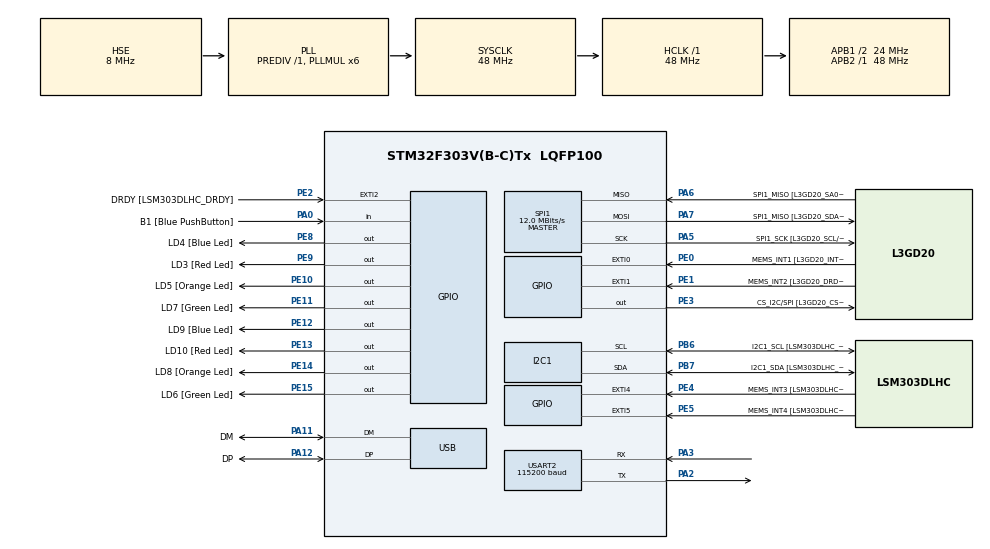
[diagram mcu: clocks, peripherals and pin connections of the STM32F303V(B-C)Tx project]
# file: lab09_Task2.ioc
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I2C1.Timing=0x00201D2B
I2C1.Timing-I2C=0x2000090E
Mcu.Family=STM32F3
Mcu.Name=STM32F303V(B-C)Tx
Mcu.Package=LQFP100
NVIC.PriorityGroup=NVIC_PRIORITYGROUP_0
PA0.GPIO_Label=B1 [Blue PushButton]
PA0.Signal=GPIO_Input
PA11.GPIO_Label=DM
PA11.Mode=Device
PA11.Signal=USB_DM
PA12.GPIO_Label=DP
PA12.Mode=Device
PA12.Signal=USB_DP
PA13.GPIO_Label=SWDIO
PA13.Mode=Serial_Wire
PA13.Signal=SYS_JTMS-SWDIO
PA14.GPIO_Label=SWCLK
PA14.Mode=Serial_Wire
PA14.Signal=SYS_JTCK-SWCLK
PA2.Mode=Asynchronous
PA2.Signal=USART2_TX
PA3.Mode=Asynchronous
PA3.Signal=USART2_RX
PA5.GPIO_Label=SPI1_SCK [L3GD20_SCL/SPC]
PA5.Mode=Full_Duplex_Master
PA5.Signal=SPI1_SCK
PA6.GPIO_Label=SPI1_MISO [L3GD20_SA0/SDO]
PA6.Mode=Full_Duplex_Master
PA6.Signal=SPI1_MISO
PA7.GPIO_Label=SPI1_MISO [L3GD20_SDA/SDI/SDO]
PA7.Mode=Full_Duplex_Master
PA7.Signal=SPI1_MOSI
PB3.GPIO_Label=SWO
PB3.Signal=SYS_JTDO-TRACESWO
PB6.GPIO_Label=I2C1_SCL [LSM303DLHC_SCL]
PB6.GPIO_Pu=GPIO_PULLUP
PB6.Mode=I2C
PB6.Signal=I2C1_SCL
PB7.GPIO_Label=I2C1_SDA [LSM303DLHC_SDA]
PB7.GPIO_Pu=GPIO_PULLUP
PB7.Mode=I2C
PB7.Signal=I2C1_SDA
PC14-OSC32_IN.GPIO_Label=OSC32_IN
PC14-OSC32_IN.Signal=RCC_OSC32_IN
PC15-OSC32_OUT.GPIO_Label=OSC32_OUT
PC15-OSC32_OUT.Signal=RCC_OSC32_OUT
PE0.GPIO_Label=MEMS_INT1 [L3GD20_INT1]
PE0.GPIO_ModeDefaultEXTI=GPIO_MODE_EVT_RISING
PE0.Signal=GPXTI0
PE1.GPIO_Label=MEMS_INT2 [L3GD20_DRDY/INT2]
PE1.GPIO_ModeDefaultEXTI=GPIO_MODE_EVT_RISING
PE1.Signal=GPXTI1
PE10.GPIO_Label=LD5 [Orange Led]
PE10.Signal=GPIO_Output
PE11.GPIO_Label=LD7 [Green Led]
PE11.Signal=GPIO_Output
PE12.GPIO_Label=LD9 [Blue Led]
PE12.Signal=GPIO_Output
PE13.GPIO_Label=LD10 [Red Led]
PE13.Signal=GPIO_Output
PE14.GPIO_Label=LD8 [Orange Led]
PE14.Signal=GPIO_Output
PE15.GPIO_Label=LD6 [Green Led]
PE15.Signal=GPIO_Output
PE2.GPIO_Label=DRDY [LSM303DLHC_DRDY]
PE2.GPIO_ModeDefaultEXTI=GPIO_MODE_EVT_RISING
PE2.Signal=GPXTI2
PE3.GPIO_Label=CS_I2C/SPI [L3GD20_CS_I2C/SPI]
PE3.Signal=GPIO_Output
PE4.GPIO_Label=MEMS_INT3 [LSM303DLHC_INT1]
PE4.GPIO_ModeDefaultEXTI=GPIO_MODE_EVT_RISING
PE4.Signal=GPXTI4
PE5.GPIO_Label=MEMS_INT4 [LSM303DLHC_INT2]
PE5.GPIO_ModeDefaultEXTI=GPIO_MODE_EVT_RISING
PE5.Signal=GPXTI5
PE8.GPIO_Label=LD4 [Blue Led]
PE8.Signal=GPIO_Output
PE9.GPIO_Label=LD3 [Red Led]
PE9.Signal=GPIO_Output
PF0-OSC_IN.GPIO_Label=OSC_IN
PF0-OSC_IN.Mode=HSE-External-Clock-Source
PF0-OSC_IN.Signal=RCC_OSC_IN
PF1-OSC_OUT.GPIO_Label=OSC_OUT
PF1-OSC_OUT.Signal=RCC_OSC_OUT
ProjectManager.HeapSize=0x200
ProjectManager.StackSize=0x400
ProjectManager.TargetToolchain=CMake
RCC.AHBFreq_Value=48000000
RCC.APB1CLKDivider=RCC_HCLK_DIV2
RCC.APB1Freq_Value=24000000
RCC.APB1TimFreq_Value=48000000
RCC.APB2Freq_Value=48000000
RCC.APB2TimFreq_Value=48000000
RCC.CortexFreq_Value=48000000
RCC.HCLKFreq_Value=48000000
RCC.HSE_VALUE=8000000
RCC.HSI_VALUE=8000000
RCC.LSE_VALUE=32768
RCC.PLLMUL=RCC_PLL_MUL6
RCC.SYSCLKFreq_VALUE=48000000
RCC.SYSCLKSourceVirtual=RCC_SYSCLKSOURCE_PLLCLK
RCC.USBFreq_Value=48000000
SPI1.BaudRatePrescaler=SPI_BAUDRATEPRESCALER_4
SPI1.BaudRatePrescaler-Full_Duplex_Master=SPI_BAUDRATEPRESCALER_2
SPI1.CalculateBaudRate=12.0 MBits/s
SPI1.CalculateBaudRate-Full_Duplex_Master=24.0 MBits/s
SPI1.Direction=SPI_DIRECTION_2LINES
SPI1.Mode=SPI_MODE_MASTER
SPI1.Mode-Full_Duplex_Master=SPI_MODE_MASTER
SPI1.VirtualType=VM_MASTER
USART2.BaudRate=115200
USART2.VirtualMode-Asynchronous=VM_ASYNC
board=STM32F3DISCOVERY

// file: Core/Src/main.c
/* USER CODE BEGIN Header */
/**
  ******************************************************************************
  * @file           : main.c
  * @brief          : Main program body
  ******************************************************************************
  * @attention
  *
  * Copyright (c) 2026 STMicroelectronics.
  * All rights reserved.
  *
  * This software is licensed under terms that can be found in the LICENSE file
  * in the root directory of this software component.
  * If no LICENSE file comes with this software, it is provided AS-IS.
  *
  ******************************************************************************
  */
/* USER CODE END Header */
#include "main.h"

/* USER CODE BEGIN Includes */
#include <stdio.h>
#include <stdarg.h>
#include <string.h>
#include <math.h>
/* USER CODE END Includes */

/* USER CODE BEGIN PTD */
typedef struct
{
    int16_t x, y, z;
} Vec3i_t;                 // three raw sensor counts

typedef struct
{
    float x, y, z;
} Vec3f_t;                 // three values in physical units

typedef struct
{
    Vec3i_t acc_raw;       // raw accelerometer counts (16-bit, left-justified)
    Vec3i_t gyro_raw;      // raw gyroscope counts
    Vec3f_t acc;           // acceleration in g, offset removed
    Vec3f_t gyro;          // angular rate in deg/s, offset removed
    Vec3f_t acc_offset;    // accelerometer bias found by Offset_LSM()
    Vec3f_t gyro_offset;   // gyroscope bias found by Offset_LSM()
    float roll;            // tilt about X from the accelerometer, degrees
    float pitch;           // tilt about Y from the accelerometer, degrees
} LSM_Data_t;
/* USER CODE END PTD */

/* USER CODE BEGIN PD */
/* ---- LSM303AGR accelerometer on I2C1 (PB6/PB7) ---- */
#define ACC_ADDR_W        0x32    // 7-bit 0x19 << 1, R/W = 0 (write)
#define ACC_ADDR_R        0x33    // 7-bit 0x19 << 1, R/W = 1 (read)
#define WHO_AM_I_A        0x0F
#define ACC_ID            0x33
#define CTRL_REG1_A       0x20
#define CTRL_REG1_A_VAL   0x67    // 0110 0111: 200 Hz, normal power, X/Y/Z on
#define CTRL_REG4_A       0x23
#define CTRL_REG4_A_VAL   0x00    // +/-2 g, normal mode (10-bit data)
#define OUT_X_L_A         0x28    // first of 6 output registers (0x28-0x2D)
#define I2C_AUTO_INC      0x80    // MSB of register address -> auto-increment
#define ACC_MG_PER_LSB    3.9f    // normal mode, +/-2 g (datasheet)
#define I2C_TIMEOUT_MS    100

/* ---- I3G4250D gyroscope on SPI1 (from Lab 8) ---- */
#define SPI_READ_FLAG     0x80    // bit 7 = 1 -> read
#define SPI_AUTO_INC      0x40    // bit 6 = 1 -> auto-increment
#define WHO_AM_I_G        0x0F
#define GYRO_ID           0xD3    // I3G4250D (blue board)
#define CTRL_REG1_G       0x20
#define CTRL_REG1_G_VAL   0x8F    // power on, X/Y/Z on (Lab 8 Task 3 value)
#define CTRL_REG4_G       0x23
#define CTRL_REG4_G_VAL   0x00    // +/-245 dps
#define OUT_X_L_G         0x28    // first of 6 output registers (0x28-0x2D)
#define GYRO_DPS_PER_LSB  0.00875f  // 8.75 mdps per count at +/-245 dps

/* ---- Processing ---- */
#define RAD_TO_DEG        57.2958f
#define OFFSET_SAMPLES    20
/* USER CODE END PD */

I2C_HandleTypeDef hi2c1;

SPI_HandleTypeDef hspi1;

UART_HandleTypeDef huart2;

PCD_HandleTypeDef hpcd_USB_FS;

/* USER CODE BEGIN PV */
LSM_Data_t lsm;            // all sensor data lives here
/* USER CODE END PV */

void SystemClock_Config(void);
static void MX_GPIO_Init(void);
static void MX_I2C1_Init(void);
static void MX_SPI1_Init(void);
static void MX_USART2_UART_Init(void);
static void MX_USB_PCD_Init(void);

/* USER CODE BEGIN 0 */

/* ===================== UART ===================== */
void myPrintf(const char *fmt, ...)
{
    char buffer[100];
    va_list args;
    va_start(args, fmt);
    vsnprintf(buffer, sizeof(buffer), fmt, args);
    va_end(args);
    HAL_UART_Transmit(&huart2, (uint8_t *)buffer, strlen(buffer), HAL_MAX_DELAY);
}

/* ============ Accelerometer: I2C register access ============ */
static HAL_StatusTypeDef acc_write_reg(uint8_t reg, uint8_t value)
{
    return HAL_I2C_Mem_Write(&hi2c1, ACC_ADDR_W, reg, I2C_MEMADD_SIZE_8BIT,
                             &value, 1, I2C_TIMEOUT_MS);
}

static HAL_StatusTypeDef acc_read_regs(uint8_t start_reg, uint8_t *buf, uint16_t len)
{
    if (len > 1)
    {
        start_reg |= I2C_AUTO_INC;   // 0x28 -> 0xA8: read 0x28, 0x29, ... in one go
    }
    return HAL_I2C_Mem_Read(&hi2c1, ACC_ADDR_R, start_reg, I2C_MEMADD_SIZE_8BIT,
                            buf, len, I2C_TIMEOUT_MS);
}

/* ============ Gyroscope: SPI register access (Lab 8) ============ */
static void gyro_cs_low(void)
{
    HAL_GPIO_WritePin(CS_I2C_SPI_GPIO_Port, CS_I2C_SPI_Pin, GPIO_PIN_RESET);
}

static void gyro_cs_high(void)
{
    HAL_GPIO_WritePin(CS_I2C_SPI_GPIO_Port, CS_I2C_SPI_Pin, GPIO_PIN_SET);
}

static void gyro_write_reg(uint8_t reg, uint8_t value)
{
    uint8_t tx[2] = { reg, value };            // bit 7 = 0 -> write

    gyro_cs_low();
    HAL_SPI_Transmit(&hspi1, tx, 2, HAL_MAX_DELAY);
    gyro_cs_high();
}

static uint8_t gyro_read_reg(uint8_t reg)
{
    uint8_t cmd  = SPI_READ_FLAG | reg;
    uint8_t data = 0;

    gyro_cs_low();
    HAL_SPI_Transmit(&hspi1, &cmd, 1, HAL_MAX_DELAY);
    HAL_SPI_Receive(&hspi1, &data, 1, HAL_MAX_DELAY);
    gyro_cs_high();

    return data;
}

static void gyro_read_regs(uint8_t start_reg, uint8_t *buf, uint16_t len)
{
    uint8_t cmd = SPI_READ_FLAG | SPI_AUTO_INC | start_reg;   // 0x28 -> 0xE8

    gyro_cs_low();
    HAL_SPI_Transmit(&hspi1, &cmd, 1, HAL_MAX_DELAY);
    HAL_SPI_Receive(&hspi1, buf, len, HAL_MAX_DELAY);
    gyro_cs_high();
}

/* ===================== Helpers ===================== */
static int16_t to_int16(uint8_t low, uint8_t high)
{
    return (int16_t)((high << 8) | low);      // raw = (high << 8) | low
}

static float acc_to_g(int16_t raw)
{
    /* Normal mode gives 10-bit data, left-justified in 16 bits:
       drop the 6 unused bits (/64), then 3.9 mg per count, then mg -> g */
    return (raw / 64.0f) * ACC_MG_PER_LSB / 1000.0f;
}

static float gyro_to_dps(int16_t raw)
{
    return raw * GYRO_DPS_PER_LSB;
}

/* Read all six raw values from both sensors into the struct */
static void read_raw(LSM_Data_t *d)
{
    uint8_t buf[6];

    if (acc_read_regs(OUT_X_L_A, buf, 6) == HAL_OK)
    {
        d->acc_raw.x = to_int16(buf[0], buf[1]);
        d->acc_raw.y = to_int16(buf[2], buf[3]);
        d->acc_raw.z = to_int16(buf[4], buf[5]);
    }

    gyro_read_regs(OUT_X_L_G, buf, 6);
    d->gyro_raw.x = to_int16(buf[0], buf[1]);
    d->gyro_raw.y = to_int16(buf[2], buf[3]);
    d->gyro_raw.z = to_int16(buf[4], buf[5]);
}

/* ===================== The four lab functions ===================== */

/* Init_LSM: check IDs, wake the accelerometer and the gyroscope */
void Init_LSM(LSM_Data_t *d)
{
    uint8_t id = 0;

    memset(d, 0, sizeof(*d));

    acc_read_regs(WHO_AM_I_A, &id, 1);
    myPrintf("Accel WHO_AM_I = 0x%02X (%s)\r\n", id, (id == ACC_ID) ? "OK" : "MISMATCH");

    acc_write_reg(CTRL_REG1_A, CTRL_REG1_A_VAL);   // wake up: 200 Hz, X/Y/Z on
    acc_write_reg(CTRL_REG4_A, CTRL_REG4_A_VAL);   // +/-2 g, normal mode

    id = gyro_read_reg(WHO_AM_I_G);
    myPrintf("Gyro  WHO_AM_I = 0x%02X (%s)\r\n", id, (id == GYRO_ID) ? "OK" : "MISMATCH");

    gyro_write_reg(CTRL_REG1_G, CTRL_REG1_G_VAL);  // power on, X/Y/Z on
    gyro_write_reg(CTRL_REG4_G, CTRL_REG4_G_VAL);  // +/-245 dps

    HAL_Delay(100);                                // wait for first valid samples
}

/* Offset_LSM: average stationary readings to find each sensor's bias */
void Offset_LSM(LSM_Data_t *d)
{
    Vec3f_t acc_sum  = {0};
    Vec3f_t gyro_sum = {0};

    for (int i = 0; i < OFFSET_SAMPLES; i++)
    {
        read_raw(d);

        acc_sum.x  += acc_to_g(d->acc_raw.x);
        acc_sum.y  += acc_to_g(d->acc_raw.y);
        acc_sum.z  += acc_to_g(d->acc_raw.z);

        gyro_sum.x += gyro_to_dps(d->gyro_raw.x);
        gyro_sum.y += gyro_to_dps(d->gyro_raw.y);
        gyro_sum.z += gyro_to_dps(d->gyro_raw.z);

        HAL_Delay(10);                             // let new samples arrive
    }

    /* Flat and still: X and Y should read 0 g, Z should read 1 g (gravity).
       So the Z offset is whatever is left over after removing gravity. */
    float mean_z = acc_sum.z / OFFSET_SAMPLES;

    d->acc_offset.x = acc_sum.x / OFFSET_SAMPLES;
    d->acc_offset.y = acc_sum.y / OFFSET_SAMPLES;
    d->acc_offset.z = mean_z - ((mean_z >= 0.0f) ? 1.0f : -1.0f);

    /* Still: every gyro axis should read 0 deg/s, so the whole mean is bias */
    d->gyro_offset.x = gyro_sum.x / OFFSET_SAMPLES;
    d->gyro_offset.y = gyro_sum.y / OFFSET_SAMPLES;
    d->gyro_offset.z = gyro_sum.z / OFFSET_SAMPLES;

    myPrintf("acc offset (g):    %.3f, %.3f, %.3f\r\n",
             d->acc_offset.x, d->acc_offset.y, d->acc_offset.z);
    myPrintf("gyro offset (dps): %.3f, %.3f, %.3f\r\n",
             d->gyro_offset.x, d->gyro_offset.y, d->gyro_offset.z);
}

/* Read_LSM: read, scale to units, remove offsets, compute tilt angles */
void Read_LSM(LSM_Data_t *d)
{
    read_raw(d);

    d->acc.x  = acc_to_g(d->acc_raw.x) - d->acc_offset.x;
    d->acc.y  = acc_to_g(d->acc_raw.y) - d->acc_offset.y;
    d->acc.z  = acc_to_g(d->acc_raw.z) - d->acc_offset.z;

    d->gyro.x = gyro_to_dps(d->gyro_raw.x) - d->gyro_offset.x;
    d->gyro.y = gyro_to_dps(d->gyro_raw.y) - d->gyro_offset.y;
    d->gyro.z = gyro_to_dps(d->gyro_raw.z) - d->gyro_offset.z;

    /* Tilt from the direction of gravity; atan2 gives radians -> degrees */
    d->roll  = atan2f(d->acc.y, d->acc.z) * RAD_TO_DEG;
    d->pitch = atan2f(-d->acc.x, sqrtf(d->acc.y * d->acc.y + d->acc.z * d->acc.z))
               * RAD_TO_DEG;
}

/* Print_LSM: one comma-separated line per reading */
void Print_LSM(const LSM_Data_t *d)
{
    /* ax, ay, az in g */
    myPrintf("%.2f,%.2f,%.2f\r\n", d->acc.x, d->acc.y, d->acc.z);
}

/* USER CODE END 0 */

int main(void)
{

  /* MCU Configuration--------------------------------------------------------*/

  /* Reset of all peripherals, Initializes the Flash interface and the Systick. */
  HAL_Init();

  /* Configure the system clock */
  SystemClock_Config();

  /* Initialize all configured peripherals */
  MX_GPIO_Init();
  MX_I2C1_Init();
  MX_SPI1_Init();
  MX_USART2_UART_Init();
  MX_USB_PCD_Init();
  /* USER CODE BEGIN 2 */
  gyro_cs_high();                    // PE3 starts low: deselect the gyro first
  HAL_Delay(100);                    // let both sensors finish booting

  myPrintf("\r\nLab 9 Task 2: LSM303AGR accel + I3G4250D gyro\r\n");
  Init_LSM(&lsm);

  myPrintf("Calibrating, keep the board flat and still...\r\n");
  Offset_LSM(&lsm);

  myPrintf("ax,ay,az\r\n");
  /* USER CODE END 2 */

  /* Infinite loop */
  while (1)
  {

    /* USER CODE BEGIN 3 */
    Read_LSM(&lsm);
    Print_LSM(&lsm);
    HAL_Delay(100);
  }
  /* USER CODE END 3 */
}

void SystemClock_Config(void)
{
  RCC_OscInitTypeDef RCC_OscInitStruct = {0};
  RCC_ClkInitTypeDef RCC_ClkInitStruct = {0};
  RCC_PeriphCLKInitTypeDef PeriphClkInit = {0};

  /** Initializes the RCC Oscillators according to the specified parameters
  * in the RCC_OscInitTypeDef structure.
  */
  RCC_OscInitStruct.OscillatorType = RCC_OSCILLATORTYPE_HSI|RCC_OSCILLATORTYPE_HSE;
  RCC_OscInitStruct.HSEState = RCC_HSE_BYPASS;
  RCC_OscInitStruct.HSEPredivValue = RCC_HSE_PREDIV_DIV1;
  RCC_OscInitStruct.HSIState = RCC_HSI_ON;
  RCC_OscInitStruct.HSICalibrationValue = RCC_HSICALIBRATION_DEFAULT;
  RCC_OscInitStruct.PLL.PLLState = RCC_PLL_ON;
  RCC_OscInitStruct.PLL.PLLSource = RCC_PLLSOURCE_HSE;
  RCC_OscInitStruct.PLL.PLLMUL = RCC_PLL_MUL6;
  if (HAL_RCC_OscConfig(&RCC_OscInitStruct) != HAL_OK)
  {
    Error_Handler();
  }

  /** Initializes the CPU, AHB and APB buses clocks
  */
  RCC_ClkInitStruct.ClockType = RCC_CLOCKTYPE_HCLK|RCC_CLOCKTYPE_SYSCLK
                              |RCC_CLOCKTYPE_PCLK1|RCC_CLOCKTYPE_PCLK2;
  RCC_ClkInitStruct.SYSCLKSource = RCC_SYSCLKSOURCE_PLLCLK;
  RCC_ClkInitStruct.AHBCLKDivider = RCC_SYSCLK_DIV1;
  RCC_ClkInitStruct.APB1CLKDivider = RCC_HCLK_DIV2;
  RCC_ClkInitStruct.APB2CLKDivider = RCC_HCLK_DIV1;

  if (HAL_RCC_ClockConfig(&RCC_ClkInitStruct, FLASH_LATENCY_1) != HAL_OK)
  {
    Error_Handler();
  }
  PeriphClkInit.PeriphClockSelection = RCC_PERIPHCLK_USB|RCC_PERIPHCLK_USART2
                              |RCC_PERIPHCLK_I2C1;
  PeriphClkInit.Usart2ClockSelection = RCC_USART2CLKSOURCE_PCLK1;
  PeriphClkInit.I2c1ClockSelection = RCC_I2C1CLKSOURCE_HSI;
  PeriphClkInit.USBClockSelection = RCC_USBCLKSOURCE_PLL;
  if (HAL_RCCEx_PeriphCLKConfig(&PeriphClkInit) != HAL_OK)
  {
    Error_Handler();
  }
}

static void MX_I2C1_Init(void)
{

  hi2c1.Instance = I2C1;
  hi2c1.Init.Timing = 0x00201D2B;
  hi2c1.Init.OwnAddress1 = 0;
  hi2c1.Init.AddressingMode = I2C_ADDRESSINGMODE_7BIT;
  hi2c1.Init.DualAddressMode = I2C_DUALADDRESS_DISABLE;
  hi2c1.Init.OwnAddress2 = 0;
  hi2c1.Init.OwnAddress2Masks = I2C_OA2_NOMASK;
  hi2c1.Init.GeneralCallMode = I2C_GENERALCALL_DISABLE;
  hi2c1.Init.NoStretchMode = I2C_NOSTRETCH_DISABLE;
  if (HAL_I2C_Init(&hi2c1) != HAL_OK)
  {
    Error_Handler();
  }

  /** Configure Analogue filter
  */
  if (HAL_I2CEx_ConfigAnalogFilter(&hi2c1, I2C_ANALOGFILTER_ENABLE) != HAL_OK)
  {
    Error_Handler();
  }

  /** Configure Digital filter
  */
  if (HAL_I2CEx_ConfigDigitalFilter(&hi2c1, 0) != HAL_OK)
  {
    Error_Handler();
  }

}

static void MX_SPI1_Init(void)
{

  /* SPI1 parameter configuration*/
  hspi1.Instance = SPI1;
  hspi1.Init.Mode = SPI_MODE_MASTER;
  hspi1.Init.Direction = SPI_DIRECTION_2LINES;
  hspi1.Init.DataSize = SPI_DATASIZE_4BIT;
  hspi1.Init.CLKPolarity = SPI_POLARITY_LOW;
  hspi1.Init.CLKPhase = SPI_PHASE_1EDGE;
  hspi1.Init.NSS = SPI_NSS_SOFT;
  hspi1.Init.BaudRatePrescaler = SPI_BAUDRATEPRESCALER_4;
  hspi1.Init.FirstBit = SPI_FIRSTBIT_MSB;
  hspi1.Init.TIMode = SPI_TIMODE_DISABLE;
  hspi1.Init.CRCCalculation = SPI_CRCCALCULATION_DISABLE;
  hspi1.Init.CRCPolynomial = 7;
  hspi1.Init.CRCLength = SPI_CRC_LENGTH_DATASIZE;
  hspi1.Init.NSSPMode = SPI_NSS_PULSE_ENABLE;
  if (HAL_SPI_Init(&hspi1) != HAL_OK)
  {
    Error_Handler();
  }
  /* USER CODE BEGIN SPI1_Init 2 */
  /* The values above are the board's defaults, which don't suit the gyro.
     Re-apply the Lab 8 settings: 8-bit frames, SPI mode 3 (CPOL high,
     CPHA 2nd edge), 48 MHz / 8 = 6 MHz (gyro max is 10 MHz), no NSS pulse.
     If you set SPI1 to these values in CubeMX, this block can be deleted. */
  hspi1.Init.DataSize = SPI_DATASIZE_8BIT;
  hspi1.Init.CLKPolarity = SPI_POLARITY_HIGH;
  hspi1.Init.CLKPhase = SPI_PHASE_2EDGE;
  hspi1.Init.BaudRatePrescaler = SPI_BAUDRATEPRESCALER_8;
  hspi1.Init.NSSPMode = SPI_NSS_PULSE_DISABLE;
  if (HAL_SPI_Init(&hspi1) != HAL_OK)
  {
    Error_Handler();
  }
  /* USER CODE END SPI1_Init 2 */

}

static void MX_USART2_UART_Init(void)
{

  huart2.Instance = USART2;
  huart2.Init.BaudRate = 115200;
  huart2.Init.WordLength = UART_WORDLENGTH_8B;
  huart2.Init.StopBits = UART_STOPBITS_1;
  huart2.Init.Parity = UART_PARITY_NONE;
  huart2.Init.Mode = UART_MODE_TX_RX;
  huart2.Init.HwFlowCtl = UART_HWCONTROL_NONE;
  huart2.Init.OverSampling = UART_OVERSAMPLING_16;
  huart2.Init.OneBitSampling = UART_ONE_BIT_SAMPLE_DISABLE;
  huart2.AdvancedInit.AdvFeatureInit = UART_ADVFEATURE_NO_INIT;
  if (HAL_UART_Init(&huart2) != HAL_OK)
  {
    Error_Handler();
  }

}

static void MX_USB_PCD_Init(void)
{

  hpcd_USB_FS.Instance = USB;
  hpcd_USB_FS.Init.dev_endpoints = 8;
  hpcd_USB_FS.Init.speed = PCD_SPEED_FULL;
  hpcd_USB_FS.Init.phy_itface = PCD_PHY_EMBEDDED;
  hpcd_USB_FS.Init.low_power_enable = DISABLE;
  hpcd_USB_FS.Init.battery_charging_enable = DISABLE;
  if (HAL_PCD_Init(&hpcd_USB_FS) != HAL_OK)
  {
    Error_Handler();
  }

}

static void MX_GPIO_Init(void)
{
  GPIO_InitTypeDef GPIO_InitStruct = {0};

  /* GPIO Ports Clock Enable */
  __HAL_RCC_GPIOE_CLK_ENABLE();
  __HAL_RCC_GPIOC_CLK_ENABLE();
  __HAL_RCC_GPIOF_CLK_ENABLE();
  __HAL_RCC_GPIOA_CLK_ENABLE();
  __HAL_RCC_GPIOB_CLK_ENABLE();

  /*Configure GPIO pin Output Level */
  HAL_GPIO_WritePin(GPIOE, CS_I2C_SPI_Pin|LD4_Pin|LD3_Pin|LD5_Pin
                          |LD7_Pin|LD9_Pin|LD10_Pin|LD8_Pin
                          |LD6_Pin, GPIO_PIN_RESET);

  /*Configure GPIO pins : DRDY_Pin MEMS_INT3_Pin MEMS_INT4_Pin MEMS_INT1_Pin
                           MEMS_INT2_Pin */
  GPIO_InitStruct.Pin = DRDY_Pin|MEMS_INT3_Pin|MEMS_INT4_Pin|MEMS_INT1_Pin
                          |MEMS_INT2_Pin;
  GPIO_InitStruct.Mode = GPIO_MODE_EVT_RISING;
  GPIO_InitStruct.Pull = GPIO_NOPULL;
  HAL_GPIO_Init(GPIOE, &GPIO_InitStruct);

  /*Configure GPIO pins : CS_I2C_SPI_Pin LD4_Pin LD3_Pin LD5_Pin
                           LD7_Pin LD9_Pin LD10_Pin LD8_Pin
                           LD6_Pin */
  GPIO_InitStruct.Pin = CS_I2C_SPI_Pin|LD4_Pin|LD3_Pin|LD5_Pin
                          |LD7_Pin|LD9_Pin|LD10_Pin|LD8_Pin
                          |LD6_Pin;
  GPIO_InitStruct.Mode = GPIO_MODE_OUTPUT_PP;
  GPIO_InitStruct.Pull = GPIO_NOPULL;
  GPIO_InitStruct.Speed = GPIO_SPEED_FREQ_LOW;
  HAL_GPIO_Init(GPIOE, &GPIO_InitStruct);

  /*Configure GPIO pin : B1_Pin */
  GPIO_InitStruct.Pin = B1_Pin;
  GPIO_InitStruct.Mode = GPIO_MODE_INPUT;
  GPIO_InitStruct.Pull = GPIO_NOPULL;
  HAL_GPIO_Init(B1_GPIO_Port, &GPIO_InitStruct);

}

void Error_Handler(void)
{
  __disable_irq();
  while (1)
  {
  }
}
